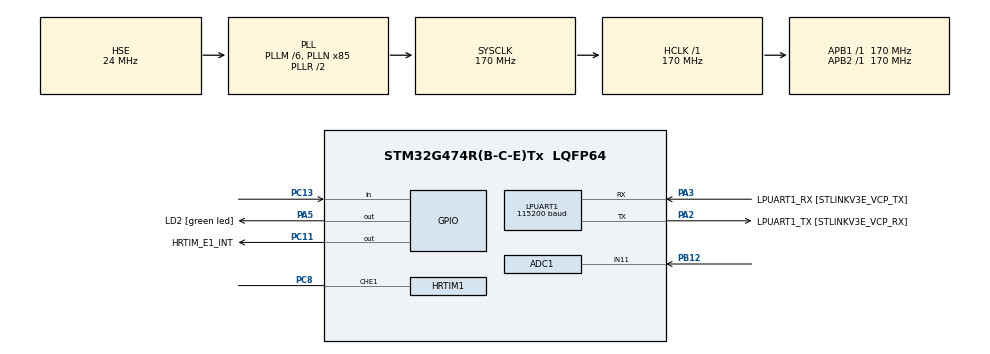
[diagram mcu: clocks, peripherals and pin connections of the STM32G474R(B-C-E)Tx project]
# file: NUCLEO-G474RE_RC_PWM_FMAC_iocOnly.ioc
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ADC1.Channel-0\#ChannelRegularConversion=ADC_CHANNEL_11
ADC1.ClockPrescaler=ADC_CLOCK_ASYNC_DIV4
ADC1.DMAContinuousRequests=ENABLE
ADC1.DataAlign=ADC_DATAALIGN_LEFT
ADC1.EOCSelection=ADC_EOC_SINGLE_CONV
ADC1.EnableInjectedConversion=DISABLE
ADC1.ExternalTrigConv=ADC_EXTERNALTRIG_HRTIM_TRG1
ADC1.GainCompensation=0
ADC1.NbrOfConversionFlag=1
ADC1.Offset-0\#ChannelRegularConversion=3000
ADC1.OffsetNumber-0\#ChannelRegularConversion=ADC_OFFSET_1
ADC1.Overrun=ADC_OVR_DATA_OVERWRITTEN
ADC1.Rank-0\#ChannelRegularConversion=1
ADC1.Rank1_Channel=ADC_CHANNEL_11
ADC1.SamplingTime-0\#ChannelRegularConversion=ADC_SAMPLETIME_6CYCLES_5
ADC1.master=1
Dma.ADC1.0.Direction=DMA_PERIPH_TO_MEMORY
Dma.ADC1.0.EventEnable=DISABLE
Dma.ADC1.0.Instance=DMA1_Channel1
Dma.ADC1.0.MemDataAlignment=DMA_MDATAALIGN_WORD
Dma.ADC1.0.MemInc=DMA_MINC_ENABLE
Dma.ADC1.0.Mode=DMA_CIRCULAR
Dma.ADC1.0.PeriphDataAlignment=DMA_PDATAALIGN_WORD
Dma.ADC1.0.PeriphInc=DMA_PINC_DISABLE
Dma.ADC1.0.Polarity=HAL_DMAMUX_REQ_GEN_RISING
Dma.ADC1.0.Priority=DMA_PRIORITY_MEDIUM
Dma.ADC1.0.RequestNumber=1
Dma.ADC1.0.SignalID=NONE
Dma.ADC1.0.SyncEnable=DISABLE
Dma.ADC1.0.SyncPolarity=HAL_DMAMUX_SYNC_NO_EVENT
Dma.ADC1.0.SyncRequestNumber=1
Dma.ADC1.0.SyncSignalID=NONE
Dma.Request0=ADC1
HRTIM1.ADCTrigger1_Source1=HRTIM_ADCTRIGGEREVENT13_TIMERE_CMP3
HRTIM1.ADCTrigger_Id1=HRTIM_ADCTRIGGER_1
HRTIM1.CompareUnit1-Output_TE1=HRTIM_COMPAREUNIT_1
HRTIM1.CompareUnit2-Output_TE1=__NULL
HRTIM1.CompareUnit3-Output_TE1=HRTIM_COMPAREUNIT_3
HRTIM1.CompareValue1-Output_TE1=400
HRTIM1.CompareValue3-Output_TE1=27000
HRTIM1.Event_EEV1=__NULL
HRTIM1.HRTIMInterruptResquests1=HRTIM_IT_NONE
HRTIM1.HRTIMInterruptResquests2=HRTIM_IT_NONE
HRTIM1.HRTIMInterruptResquests3=HRTIM_IT_NONE
HRTIM1.InterruptRequests1-Output_TE1=HRTIM_TIM_IT_UPD
HRTIM1.NumberADCTriggerSource1=1
HRTIM1.NumberFaultEnable-Output_TE1=0
HRTIM1.NumberInterruptRequests-Output_TE1=0
HRTIM1.NumberResetSource1-Output_TE1=1
HRTIM1.NumberResetTrigger-Output_TE1=0
HRTIM1.NumberSetSource1-Output_TE1=1
HRTIM1.NumberUpdateTrigger-Output_TE1=0
HRTIM1.ORingUpdateSource_ADCTrigger1=HRTIM_ADCTRIGGERUPDATE_TIMER_E
HRTIM1.Periode_TE=27200
HRTIM1.PreloadEnable-Output_TE1=HRTIM_PRELOAD_DISABLED
HRTIM1.PrescalerRatio_TE=HRTIM_PRESCALERRATIO_MUL8
HRTIM1.ReSyncUpdate-Output_TE1=HRTIM_TIMERESYNC_UPDATE_UNCONDITIONAL
HRTIM1.RepetitionCounter-Output_TE1=1
HRTIM1.RepetitionUpdate-Output_TE1=HRTIM_UPDATEONREPETITION_DISABLED
HRTIM1.ResetOutput1_Source1-Output_TE1=HRTIM_OUTPUTRESET_TIMCMP1
HRTIM1.ResetUpdate-Output_TE1=HRTIM_TIMUPDATEONRESET_DISABLED
HRTIM1.SetOutput1_Source1-Output_TE1=HRTIM_OUTPUTSET_TIMPER
LPUART1.BaudRate=115200
LPUART1.WordLength=UART_WORDLENGTH_8B
Mcu.Family=STM32G4
Mcu.Name=STM32G474R(B-C-E)Tx
Mcu.Package=LQFP64
NVIC.FMAC_IRQn=true\:0\:0\:false\:false\:true\:true\:false
NVIC.PriorityGroup=NVIC_PRIORITYGROUP_4
PA13.GPIO_Label=T_SWDIO
PA13.Mode=Trace_Asynchronous_SW
PA13.Signal=SYS_JTMS-SWDIO
PA14.GPIO_Label=T_SWCLK
PA14.Mode=Trace_Asynchronous_SW
PA14.Signal=SYS_JTCK-SWCLK
PA2.GPIO_Label=LPUART1_TX [STLINKV3E_VCP_RX]
PA2.Mode=Asynchronous
PA2.Signal=LPUART1_TX
PA3.GPIO_Label=LPUART1_RX [STLINKV3E_VCP_TX]
PA3.Mode=Asynchronous
PA3.Signal=LPUART1_RX
PA5.GPIO_Label=LD2 [green led]
PA5.Signal=GPIO_Output
PB12.Mode=IN11-Single-Ended
PB12.Signal=ADC1_IN11
PB3.GPIO_Label=T_SWO
PB3.Mode=Trace_Asynchronous_SW
PB3.Signal=SYS_JTDO-SWO
PC11.GPIO_Label=HRTIM_E1_INT
PC11.GPIO_Speed=GPIO_SPEED_FREQ_LOW
PC11.Signal=GPIO_Output
PC13.GPIO_PuPd=GPIO_NOPULL
PC13.Signal=GPIO_Input
PC14-OSC32_IN.Mode=LSE-External-Oscillator
PC14-OSC32_IN.Signal=RCC_OSC32_IN
PC15-OSC32_OUT.Mode=LSE-External-Oscillator
PC15-OSC32_OUT.Signal=RCC_OSC32_OUT
PC8.GPIO_Speed_High_Default=GPIO_SPEED_FREQ_LOW
PC8.Mode=Output_TE1
PC8.Signal=HRTIM1_CHE1
PF0-OSC_IN.Mode=HSE-External-Oscillator
PF0-OSC_IN.Signal=RCC_OSC_IN
PF1-OSC_OUT.Mode=HSE-External-Oscillator
PF1-OSC_OUT.Signal=RCC_OSC_OUT
ProjectManager.HeapSize=0x200
ProjectManager.StackSize=0x400
ProjectManager.TargetToolchain=STM32CubeIDE
RCC.ADC12Freq_Value=170000000
RCC.ADC345Freq_Value=170000000
RCC.AHBFreq_Value=170000000
RCC.APB1Freq_Value=170000000
RCC.APB1TimFreq_Value=170000000
RCC.APB2Freq_Value=170000000
RCC.APB2TimFreq_Value=170000000
RCC.CortexFreq_Value=170000000
RCC.EXTERNAL_CLOCK_VALUE=12288000
RCC.HCLKFreq_Value=170000000
RCC.HSE_VALUE=24000000
RCC.HSI48_VALUE=48000000
RCC.HSI_VALUE=16000000
RCC.PLLM=RCC_PLLM_DIV6
RCC.PLLN=85
RCC.PLLSourceVirtual=RCC_PLLSOURCE_HSE
RCC.RTCClockSelection=RCC_RTCCLKSOURCE_LSE
RCC.SYSCLKFreq_VALUE=170000000
RCC.SYSCLKSource=RCC_SYSCLKSOURCE_PLLCLK
RCC.USBFreq_Value=170000000
RCC.VCOOutputFreq_Value=340000000
VP_FMAC_VS_FMAC.Mode=FMAC_Activate
VP_SYS_VS_DBSignals.Mode=DisableDeadBatterySignals
board=NUCLEO-G474RE

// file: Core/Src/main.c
/* USER CODE BEGIN Header */
/**
  ******************************************************************************
  * @file           : main.c
  * @brief          : Main program body
  ******************************************************************************
  * @attention
  *
  * <h2><center>&copy; Copyright (c) 2021 STMicroelectronics.
  * All rights reserved.</center></h2>
  *
  * This software component is licensed by ST under BSD 3-Clause license,
  * the "License"; You may not use this file except in compliance with the
  * License. You may obtain a copy of the License at:
  *                        opensource.org/licenses/BSD-3-Clause
  *
  ******************************************************************************
  */
/* USER CODE END Header */
#include "main.h"

ADC_HandleTypeDef hadc1;
DMA_HandleTypeDef hdma_adc1;

FMAC_HandleTypeDef hfmac;

HRTIM_HandleTypeDef hhrtim1;

UART_HandleTypeDef hlpuart1;

/* USER CODE BEGIN PV */

/* FMAC configuration structure */
FMAC_FilterConfigTypeDef sFmacConfig;

/* Array of filter coefficients A (feedback coefficients) in Q1.15 format */
static int16_t aFilterCoeffA[COEFF_VECTOR_A_SIZE] = {A1,A2,A3};

/* Array of filter coefficients B (feed-forward taps) in Q1.15 format */
static int16_t aFilterCoeffB[COEFF_VECTOR_B_SIZE] = {-B0,-B1,-B2,-B3};

/* Array of output data to preload in Q1.15 format */
static int16_t aOutputDataToPreload[COEFF_VECTOR_A_SIZE] = {0x0000, 0x0000, 0x0000};

/* Expected number of calculated samples */
uint16_t ExpectedCalculatedOutputSize = (uint16_t) 1;
uint32_t *Fmac_Wdata;
int16_t Fmac_output;

uint32_t tmp;

/* USER CODE END PV */

void SystemClock_Config(void);
static void MX_GPIO_Init(void);
static void MX_DMA_Init(void);
static void MX_LPUART1_UART_Init(void);
static void MX_HRTIM1_Init(void);
static void MX_ADC1_Init(void);
static void MX_FMAC_Init(void);
/* USER CODE BEGIN PFP */

volatile void VT_FMAC_Controller(void);
static void VT_HRTIM1_Start_Output(void);

/* USER CODE END PFP */

int main(void)
{

  /* MCU Configuration--------------------------------------------------------*/

  /* Reset of all peripherals, Initializes the Flash interface and the Systick. */
  HAL_Init();

  /* Configure the system clock */
  SystemClock_Config();

  /* Initialize all configured peripherals */
  MX_GPIO_Init();
  MX_DMA_Init();
  MX_LPUART1_UART_Init();
  MX_HRTIM1_Init();
  MX_ADC1_Init();
  MX_FMAC_Init();
  /* USER CODE BEGIN 2 */

  /*## Configure the FMAC peripheral ###########################################*/
  sFmacConfig.InputBaseAddress  = INPUT_BUFFER_BASE;
  sFmacConfig.InputBufferSize   = INPUT_BUFFER_SIZE;
  sFmacConfig.InputThreshold    = INPUT_THRESHOLD;
  sFmacConfig.CoeffBaseAddress  = COEFFICIENT_BUFFER_BASE;
  sFmacConfig.CoeffBufferSize   = COEFFICIENT_BUFFER_SIZE;
  sFmacConfig.OutputBaseAddress = OUTPUT_BUFFER_BASE;
  sFmacConfig.OutputBufferSize  = OUTPUT_BUFFER_SIZE;
  sFmacConfig.OutputThreshold   = OUTPUT_THRESHOLD;
  sFmacConfig.pCoeffA           = aFilterCoeffA;
  sFmacConfig.CoeffASize        = COEFF_VECTOR_A_SIZE;
  sFmacConfig.pCoeffB           = aFilterCoeffB;
  sFmacConfig.CoeffBSize        = COEFF_VECTOR_B_SIZE;
  sFmacConfig.Filter            = FMAC_FUNC_IIR_DIRECT_FORM_1;
  sFmacConfig.InputAccess       = FMAC_BUFFER_ACCESS_NONE;
  sFmacConfig.OutputAccess      = FMAC_BUFFER_ACCESS_IT;
  sFmacConfig.Clip              = FMAC_CLIP_ENABLED;
  sFmacConfig.P                 = COEFF_VECTOR_B_SIZE;
  sFmacConfig.Q                 = COEFF_VECTOR_A_SIZE;
  sFmacConfig.R                 = KC_shift;

  if (HAL_FMAC_FilterConfig(&hfmac, &sFmacConfig) != HAL_OK)
  {
    /* Configuration Error */
    Error_Handler();
  }

  /*## Preload the input and output buffers ####################################*/
  if (HAL_FMAC_FilterPreload(&hfmac, NULL, INPUT_BUFFER_SIZE,
                             aOutputDataToPreload, COEFF_VECTOR_A_SIZE) != HAL_OK)
  {
    /* Configuration Error */
    Error_Handler();
  }
  /* Start calculation of IIR filter */
   if (HAL_FMAC_FilterStart(&hfmac,&Fmac_output,&ExpectedCalculatedOutputSize) != HAL_OK)
  {
    /* Processing Error */
    Error_Handler();
  }

  /* Run the ADC calibration in single-ended mode */
  if (HAL_ADCEx_Calibration_Start(&hadc1, ADC_SINGLE_ENDED) != HAL_OK)
  {
    /* Calibration Error */
    Error_Handler();
  }

  /* Start ADC group regular conversion with DMA */
  /* Start ADC and DMA */
  Fmac_Wdata = (uint32_t *) FMAC_WDATA;
  if (HAL_ADC_Start_DMA(&hadc1, (uint32_t *) Fmac_Wdata, 1) != HAL_OK)
  {
    /* ADC conversion start error */
    Error_Handler();
  }

  VT_HRTIM1_Start_Output();

  /* USER CODE END 2 */

  /* Infinite loop */
  while (1)
  {

  }
}

void SystemClock_Config(void)
{
  RCC_OscInitTypeDef RCC_OscInitStruct = {0};
  RCC_ClkInitTypeDef RCC_ClkInitStruct = {0};
  RCC_PeriphCLKInitTypeDef PeriphClkInit = {0};

  /** Configure the main internal regulator output voltage
  */
  HAL_PWREx_ControlVoltageScaling(PWR_REGULATOR_VOLTAGE_SCALE1_BOOST);
  /** Initializes the RCC Oscillators according to the specified parameters
  * in the RCC_OscInitTypeDef structure.
  */
  RCC_OscInitStruct.OscillatorType = RCC_OSCILLATORTYPE_HSE;
  RCC_OscInitStruct.HSEState = RCC_HSE_ON;
  RCC_OscInitStruct.PLL.PLLState = RCC_PLL_ON;
  RCC_OscInitStruct.PLL.PLLSource = RCC_PLLSOURCE_HSE;
  RCC_OscInitStruct.PLL.PLLM = RCC_PLLM_DIV6;
  RCC_OscInitStruct.PLL.PLLN = 85;
  RCC_OscInitStruct.PLL.PLLP = RCC_PLLP_DIV2;
  RCC_OscInitStruct.PLL.PLLQ = RCC_PLLQ_DIV2;
  RCC_OscInitStruct.PLL.PLLR = RCC_PLLR_DIV2;
  if (HAL_RCC_OscConfig(&RCC_OscInitStruct) != HAL_OK)
  {
    Error_Handler();
  }
  /** Initializes the CPU, AHB and APB buses clocks
  */
  RCC_ClkInitStruct.ClockType = RCC_CLOCKTYPE_HCLK|RCC_CLOCKTYPE_SYSCLK
                              |RCC_CLOCKTYPE_PCLK1|RCC_CLOCKTYPE_PCLK2;
  RCC_ClkInitStruct.SYSCLKSource = RCC_SYSCLKSOURCE_PLLCLK;
  RCC_ClkInitStruct.AHBCLKDivider = RCC_SYSCLK_DIV1;
  RCC_ClkInitStruct.APB1CLKDivider = RCC_HCLK_DIV1;
  RCC_ClkInitStruct.APB2CLKDivider = RCC_HCLK_DIV1;

  if (HAL_RCC_ClockConfig(&RCC_ClkInitStruct, FLASH_LATENCY_4) != HAL_OK)
  {
    Error_Handler();
  }
  /** Initializes the peripherals clocks
  */
  PeriphClkInit.PeriphClockSelection = RCC_PERIPHCLK_LPUART1|RCC_PERIPHCLK_ADC12;
  PeriphClkInit.Lpuart1ClockSelection = RCC_LPUART1CLKSOURCE_PCLK1;
  PeriphClkInit.Adc12ClockSelection = RCC_ADC12CLKSOURCE_SYSCLK;
  if (HAL_RCCEx_PeriphCLKConfig(&PeriphClkInit) != HAL_OK)
  {
    Error_Handler();
  }
}

static void MX_ADC1_Init(void)
{

  ADC_MultiModeTypeDef multimode = {0};
  ADC_ChannelConfTypeDef sConfig = {0};

  /** Common config
  */
  hadc1.Instance = ADC1;
  hadc1.Init.ClockPrescaler = ADC_CLOCK_ASYNC_DIV4;
  hadc1.Init.Resolution = ADC_RESOLUTION_12B;
  hadc1.Init.DataAlign = ADC_DATAALIGN_LEFT;
  hadc1.Init.GainCompensation = 0;
  hadc1.Init.ScanConvMode = ADC_SCAN_DISABLE;
  hadc1.Init.EOCSelection = ADC_EOC_SINGLE_CONV;
  hadc1.Init.LowPowerAutoWait = DISABLE;
  hadc1.Init.ContinuousConvMode = DISABLE;
  hadc1.Init.NbrOfConversion = 1;
  hadc1.Init.DiscontinuousConvMode = DISABLE;
  hadc1.Init.ExternalTrigConv = ADC_EXTERNALTRIG_HRTIM_TRG1;
  hadc1.Init.ExternalTrigConvEdge = ADC_EXTERNALTRIGCONVEDGE_RISING;
  hadc1.Init.DMAContinuousRequests = ENABLE;
  hadc1.Init.Overrun = ADC_OVR_DATA_OVERWRITTEN;
  hadc1.Init.OversamplingMode = DISABLE;
  if (HAL_ADC_Init(&hadc1) != HAL_OK)
  {
    Error_Handler();
  }
  /** Configure the ADC multi-mode
  */
  multimode.Mode = ADC_MODE_INDEPENDENT;
  if (HAL_ADCEx_MultiModeConfigChannel(&hadc1, &multimode) != HAL_OK)
  {
    Error_Handler();
  }
  /** Configure Regular Channel
  */
  sConfig.Channel = ADC_CHANNEL_11;
  sConfig.Rank = ADC_REGULAR_RANK_1;
  sConfig.SamplingTime = ADC_SAMPLETIME_6CYCLES_5;
  sConfig.SingleDiff = ADC_SINGLE_ENDED;
  sConfig.OffsetNumber = ADC_OFFSET_1;
  sConfig.Offset = 3000;
  sConfig.OffsetSign = ADC_OFFSET_SIGN_NEGATIVE;
  sConfig.OffsetSaturation = DISABLE;
  if (HAL_ADC_ConfigChannel(&hadc1, &sConfig) != HAL_OK)
  {
    Error_Handler();
  }
  /* USER CODE BEGIN ADC1_Init 2 */

  /* CubeMX enables DMA interrupt even if not configured */
  HAL_NVIC_DisableIRQ(DMA1_Channel1_IRQn);

  /* USER CODE END ADC1_Init 2 */

}

static void MX_FMAC_Init(void)
{

  hfmac.Instance = FMAC;
  if (HAL_FMAC_Init(&hfmac) != HAL_OK)
  {
    Error_Handler();
  }

}

static void MX_HRTIM1_Init(void)
{

  HRTIM_ADCTriggerCfgTypeDef pADCTriggerCfg = {0};
  HRTIM_TimeBaseCfgTypeDef pTimeBaseCfg = {0};
  HRTIM_TimerCtlTypeDef pTimerCtl = {0};
  HRTIM_TimerCfgTypeDef pTimerCfg = {0};
  HRTIM_CompareCfgTypeDef pCompareCfg = {0};
  HRTIM_OutputCfgTypeDef pOutputCfg = {0};

  hhrtim1.Instance = HRTIM1;
  hhrtim1.Init.HRTIMInterruptResquests = HRTIM_IT_NONE;
  hhrtim1.Init.SyncOptions = HRTIM_SYNCOPTION_NONE;
  if (HAL_HRTIM_Init(&hhrtim1) != HAL_OK)
  {
    Error_Handler();
  }
  if (HAL_HRTIM_DLLCalibrationStart(&hhrtim1, HRTIM_CALIBRATIONRATE_3) != HAL_OK)
  {
    Error_Handler();
  }
  if (HAL_HRTIM_PollForDLLCalibration(&hhrtim1, 10) != HAL_OK)
  {
    Error_Handler();
  }
  pADCTriggerCfg.UpdateSource = HRTIM_ADCTRIGGERUPDATE_TIMER_E;
  pADCTriggerCfg.Trigger = HRTIM_ADCTRIGGEREVENT13_TIMERE_CMP3;
  if (HAL_HRTIM_ADCTriggerConfig(&hhrtim1, HRTIM_ADCTRIGGER_1, &pADCTriggerCfg) != HAL_OK)
  {
    Error_Handler();
  }
  if (HAL_HRTIM_ADCPostScalerConfig(&hhrtim1, HRTIM_ADCTRIGGER_1, 0x0) != HAL_OK)
  {
    Error_Handler();
  }
  pTimeBaseCfg.Period = 27200;
  pTimeBaseCfg.RepetitionCounter = 1;
  pTimeBaseCfg.PrescalerRatio = HRTIM_PRESCALERRATIO_MUL8;
  pTimeBaseCfg.Mode = HRTIM_MODE_CONTINUOUS;
  if (HAL_HRTIM_TimeBaseConfig(&hhrtim1, HRTIM_TIMERINDEX_TIMER_E, &pTimeBaseCfg) != HAL_OK)
  {
    Error_Handler();
  }
  pTimerCtl.UpDownMode = HRTIM_TIMERUPDOWNMODE_UP;
  pTimerCtl.GreaterCMP3 = HRTIM_TIMERGTCMP3_EQUAL;
  pTimerCtl.GreaterCMP1 = HRTIM_TIMERGTCMP1_EQUAL;
  pTimerCtl.DualChannelDacEnable = HRTIM_TIMER_DCDE_DISABLED;
  if (HAL_HRTIM_WaveformTimerControl(&hhrtim1, HRTIM_TIMERINDEX_TIMER_E, &pTimerCtl) != HAL_OK)
  {
    Error_Handler();
  }
  pTimerCfg.InterruptRequests = HRTIM_MASTER_IT_NONE;
  pTimerCfg.DMARequests = HRTIM_TIM_DMA_NONE;
  pTimerCfg.DMASrcAddress = 0x0000;
  pTimerCfg.DMADstAddress = 0x0000;
  pTimerCfg.DMASize = 0x1;
  pTimerCfg.HalfModeEnable = HRTIM_HALFMODE_DISABLED;
  pTimerCfg.InterleavedMode = HRTIM_INTERLEAVED_MODE_DISABLED;
  pTimerCfg.StartOnSync = HRTIM_SYNCSTART_DISABLED;
  pTimerCfg.ResetOnSync = HRTIM_SYNCRESET_DISABLED;
  pTimerCfg.DACSynchro = HRTIM_DACSYNC_NONE;
  pTimerCfg.PreloadEnable = HRTIM_PRELOAD_DISABLED;
  pTimerCfg.UpdateGating = HRTIM_UPDATEGATING_INDEPENDENT;
  pTimerCfg.BurstMode = HRTIM_TIMERBURSTMODE_MAINTAINCLOCK;
  pTimerCfg.RepetitionUpdate = HRTIM_UPDATEONREPETITION_DISABLED;
  pTimerCfg.PushPull = HRTIM_TIMPUSHPULLMODE_DISABLED;
  pTimerCfg.FaultEnable = HRTIM_TIMFAULTENABLE_NONE;
  pTimerCfg.FaultLock = HRTIM_TIMFAULTLOCK_READWRITE;
  pTimerCfg.DeadTimeInsertion = HRTIM_TIMDEADTIMEINSERTION_DISABLED;
  pTimerCfg.DelayedProtectionMode = HRTIM_TIMER_D_E_DELAYEDPROTECTION_DISABLED;
  pTimerCfg.UpdateTrigger = HRTIM_TIMUPDATETRIGGER_NONE;
  pTimerCfg.ResetTrigger = HRTIM_TIMRESETTRIGGER_NONE;
  pTimerCfg.ResetUpdate = HRTIM_TIMUPDATEONRESET_DISABLED;
  pTimerCfg.ReSyncUpdate = HRTIM_TIMERESYNC_UPDATE_UNCONDITIONAL;
  if (HAL_HRTIM_WaveformTimerConfig(&hhrtim1, HRTIM_TIMERINDEX_TIMER_E, &pTimerCfg) != HAL_OK)
  {
    Error_Handler();
  }
  pCompareCfg.CompareValue = 400;
  if (HAL_HRTIM_WaveformCompareConfig(&hhrtim1, HRTIM_TIMERINDEX_TIMER_E, HRTIM_COMPAREUNIT_1, &pCompareCfg) != HAL_OK)
  {
    Error_Handler();
  }
  pCompareCfg.CompareValue = 27000;
  if (HAL_HRTIM_WaveformCompareConfig(&hhrtim1, HRTIM_TIMERINDEX_TIMER_E, HRTIM_COMPAREUNIT_3, &pCompareCfg) != HAL_OK)
  {
    Error_Handler();
  }
  pOutputCfg.Polarity = HRTIM_OUTPUTPOLARITY_HIGH;
  pOutputCfg.SetSource = HRTIM_OUTPUTSET_TIMPER;
  pOutputCfg.ResetSource = HRTIM_OUTPUTRESET_TIMCMP1;
  pOutputCfg.IdleMode = HRTIM_OUTPUTIDLEMODE_NONE;
  pOutputCfg.IdleLevel = HRTIM_OUTPUTIDLELEVEL_INACTIVE;
  pOutputCfg.FaultLevel = HRTIM_OUTPUTFAULTLEVEL_NONE;
  pOutputCfg.ChopperModeEnable = HRTIM_OUTPUTCHOPPERMODE_DISABLED;
  pOutputCfg.BurstModeEntryDelayed = HRTIM_OUTPUTBURSTMODEENTRY_REGULAR;
  if (HAL_HRTIM_WaveformOutputConfig(&hhrtim1, HRTIM_TIMERINDEX_TIMER_E, HRTIM_OUTPUT_TE1, &pOutputCfg) != HAL_OK)
  {
    Error_Handler();
  }
  HAL_HRTIM_MspPostInit(&hhrtim1);

}

static void MX_LPUART1_UART_Init(void)
{

  hlpuart1.Instance = LPUART1;
  hlpuart1.Init.BaudRate = 115200;
  hlpuart1.Init.WordLength = UART_WORDLENGTH_8B;
  hlpuart1.Init.StopBits = UART_STOPBITS_1;
  hlpuart1.Init.Parity = UART_PARITY_NONE;
  hlpuart1.Init.Mode = UART_MODE_TX_RX;
  hlpuart1.Init.HwFlowCtl = UART_HWCONTROL_NONE;
  hlpuart1.Init.OneBitSampling = UART_ONE_BIT_SAMPLE_DISABLE;
  hlpuart1.Init.ClockPrescaler = UART_PRESCALER_DIV1;
  hlpuart1.AdvancedInit.AdvFeatureInit = UART_ADVFEATURE_NO_INIT;
  if (HAL_UART_Init(&hlpuart1) != HAL_OK)
  {
    Error_Handler();
  }
  if (HAL_UARTEx_SetTxFifoThreshold(&hlpuart1, UART_TXFIFO_THRESHOLD_1_8) != HAL_OK)
  {
    Error_Handler();
  }
  if (HAL_UARTEx_SetRxFifoThreshold(&hlpuart1, UART_RXFIFO_THRESHOLD_1_8) != HAL_OK)
  {
    Error_Handler();
  }
  if (HAL_UARTEx_DisableFifoMode(&hlpuart1) != HAL_OK)
  {
    Error_Handler();
  }

}

static void MX_DMA_Init(void)
{

  /* DMA controller clock enable */
  __HAL_RCC_DMAMUX1_CLK_ENABLE();
  __HAL_RCC_DMA1_CLK_ENABLE();

}

static void MX_GPIO_Init(void)
{
  GPIO_InitTypeDef GPIO_InitStruct = {0};

  /* GPIO Ports Clock Enable */
  __HAL_RCC_GPIOC_CLK_ENABLE();
  __HAL_RCC_GPIOF_CLK_ENABLE();
  __HAL_RCC_GPIOA_CLK_ENABLE();
  __HAL_RCC_GPIOB_CLK_ENABLE();

  /*Configure GPIO pin Output Level */
  HAL_GPIO_WritePin(LD2_GPIO_Port, LD2_Pin, GPIO_PIN_RESET);

  /*Configure GPIO pin Output Level */
  HAL_GPIO_WritePin(HRTIM_E1_INT_GPIO_Port, HRTIM_E1_INT_Pin, GPIO_PIN_RESET);

  /*Configure GPIO pin : PC13 */
  GPIO_InitStruct.Pin = GPIO_PIN_13;
  GPIO_InitStruct.Mode = GPIO_MODE_INPUT;
  GPIO_InitStruct.Pull = GPIO_NOPULL;
  HAL_GPIO_Init(GPIOC, &GPIO_InitStruct);

  /*Configure GPIO pin : LD2_Pin */
  GPIO_InitStruct.Pin = LD2_Pin;
  GPIO_InitStruct.Mode = GPIO_MODE_OUTPUT_PP;
  GPIO_InitStruct.Pull = GPIO_NOPULL;
  GPIO_InitStruct.Speed = GPIO_SPEED_FREQ_LOW;
  HAL_GPIO_Init(LD2_GPIO_Port, &GPIO_InitStruct);

  /*Configure GPIO pin : HRTIM_E1_INT_Pin */
  GPIO_InitStruct.Pin = HRTIM_E1_INT_Pin;
  GPIO_InitStruct.Mode = GPIO_MODE_OUTPUT_PP;
  GPIO_InitStruct.Pull = GPIO_NOPULL;
  GPIO_InitStruct.Speed = GPIO_SPEED_FREQ_LOW;
  HAL_GPIO_Init(HRTIM_E1_INT_GPIO_Port, &GPIO_InitStruct);

}

/* USER CODE BEGIN 4 */

volatile void VT_FMAC_Controller(void)
{

	  tmp = READ_REG(hfmac.Instance->RDATA);
	  tmp = (tmp > 0x00007FFF ? 0 : tmp);

	  if (tmp > 25000)
		  tmp = 25000;
	  if (tmp <= 10)
		  tmp = 10;

	  __HAL_HRTIM_SETCOMPARE( &hhrtim1, HRTIM_TIMERINDEX_TIMER_E, HRTIM_COMPAREUNIT_1, tmp);
}

static void VT_HRTIM1_Start_Output(void)
{

	HAL_HRTIM_WaveformOutputStart(&hhrtim1, HRTIM_OUTPUT_TE1 );
	HAL_HRTIM_WaveformCountStart(&hhrtim1, HRTIM_TIMERID_TIMER_E);

}

/* USER CODE END 4 */

void Error_Handler(void)
{
  __disable_irq();
  while (1)
  {
  }
}

/************************ (C) COPYRIGHT STMicroelectronics *****END OF FILE****/
